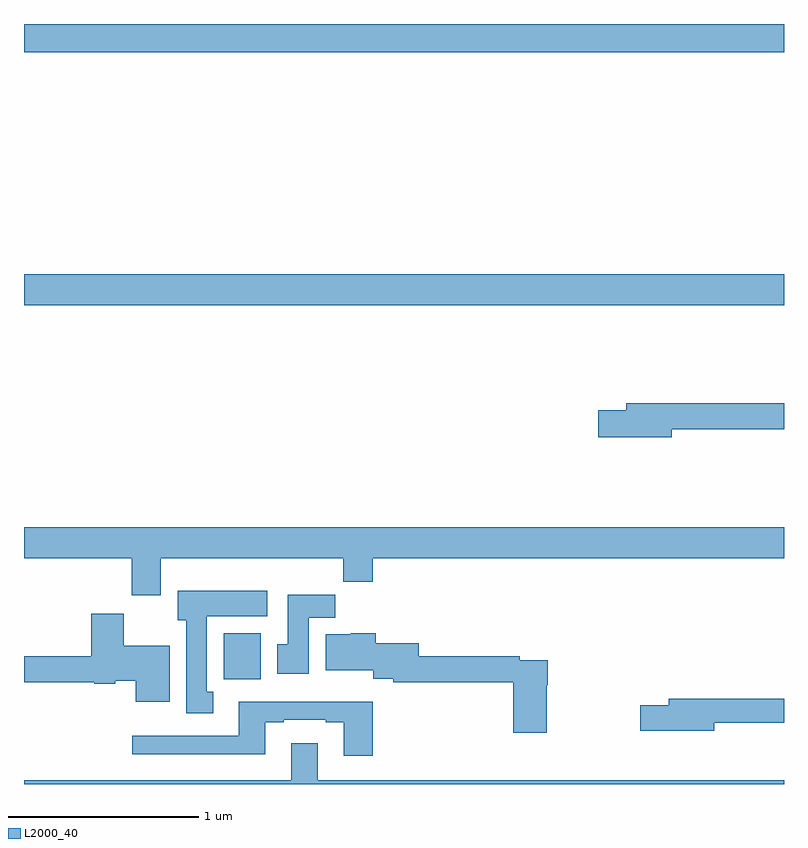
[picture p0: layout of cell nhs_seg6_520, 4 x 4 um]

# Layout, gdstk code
import gdstk
lib = gdstk.Library(unit=1e-6, precision=1e-09)
def R(c, l, rs):  # rectangles x0, y0, x1, y1
    for r in rs: c.add(gdstk.rectangle(r[:2], r[2:], *l))
def P(c, l, *ps):  # polygons
    for p in ps: c.add(gdstk.Polygon(p, *l))
L2000_40 = (2000, 40)

nhs_seg6_520 = lib.new_cell('nhs_seg6_520')
R(nhs_seg6_520, L2000_40, [(144.05,928.052,144.247,928.294), (143,930.02,147,930.184), (143,931.352,147,931.5)])
P(nhs_seg6_520, L2000_40, [(146.41,929.368),(147,929.368),(147,929.504),(146.171,929.504),(146.171,929.468),(146.022,929.468),(146.022,929.326),(146.41,929.326)],
  [(143.719,928.688),(144.679,928.688),(144.679,928.564),(144.836,928.564),(144.836,928.688),(147,928.688),(147,928.852),(143,928.852),(143,928.688),(143.567,928.688),(143.567,928.494),(143.719,928.494)],
  [(143.995,927.986),(143.962,927.986),(143.962,928.382),(144.28,928.382),(144.28,928.516),(143.81,928.516),(143.81,928.362),(143.855,928.362),(143.855,927.873),(143.995,927.873)],
  [(144.499,928.376),(144.638,928.376),(144.638,928.495),(144.389,928.495),(144.389,928.236),(144.332,928.236),(144.332,928.08),(144.499,928.08)],
  [(143.767,928.228),(143.524,928.228),(143.524,928.396),(143.354,928.396),(143.354,928.172),(143,928.172),(143,928.036),(143.37,928.036),(143.37,928.028),(143.481,928.028),(143.481,928.043),(143.588,928.043),(143.588,927.932),(143.767,927.932)],
  [(145.752,928.019),(145.757,928.019),(145.757,928.152),(145.61,928.152),(145.61,928.172),(145.078,928.172),(145.078,928.24),(144.851,928.24),(144.851,928.294),(144.72,928.294),(144.72,928.288),(144.587,928.288),(144.587,928.1),(144.839,928.1),(144.839,928.055),(144.943,928.055),(144.943,928.036),(145.574,928.036),(145.574,927.771),(145.752,927.771)],
  [(146.632,927.822),(147,927.822),(147,927.95),(146.393,927.95),(146.393,927.914),(146.244,927.914),(146.244,927.779),(146.632,927.779)],
  [(144.836,927.934),(144.131,927.934),(144.131,927.753),(143.571,927.753),(143.571,927.656),(144.271,927.656),(144.271,927.825),(144.367,927.825),(144.367,927.837),(144.587,927.837),(144.587,927.825),(144.683,927.825),(144.683,927.648),(144.836,927.648)],
  [(147,927.52),(144.547,927.52),(144.547,927.715),(144.407,927.715),(144.407,927.52),(143,927.52),(143,927.5),(147,927.5)])

lib.write_gds('nhs_seg6_520.gds')
